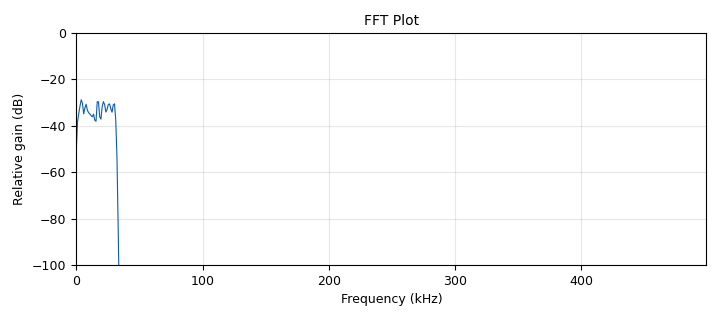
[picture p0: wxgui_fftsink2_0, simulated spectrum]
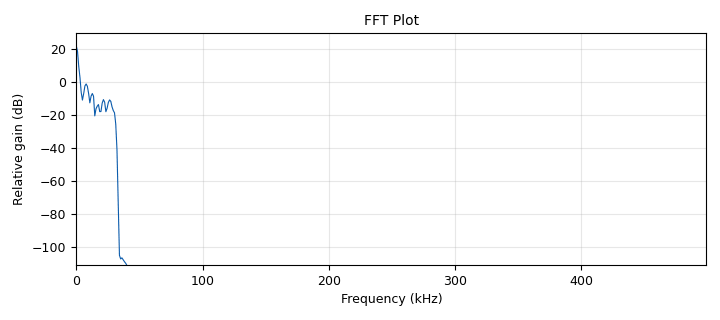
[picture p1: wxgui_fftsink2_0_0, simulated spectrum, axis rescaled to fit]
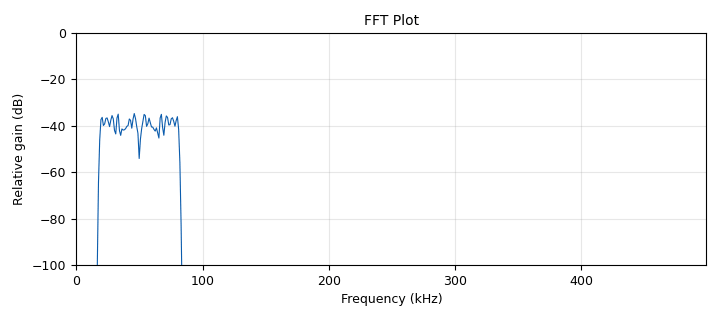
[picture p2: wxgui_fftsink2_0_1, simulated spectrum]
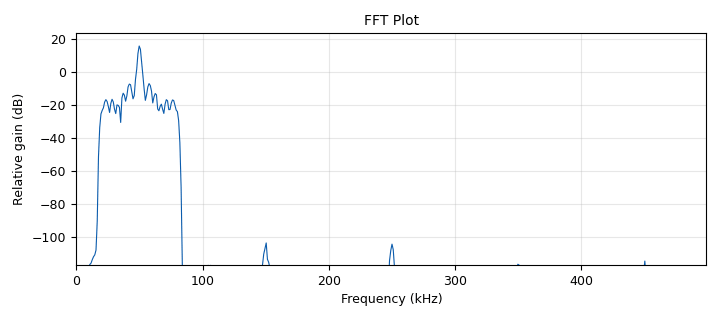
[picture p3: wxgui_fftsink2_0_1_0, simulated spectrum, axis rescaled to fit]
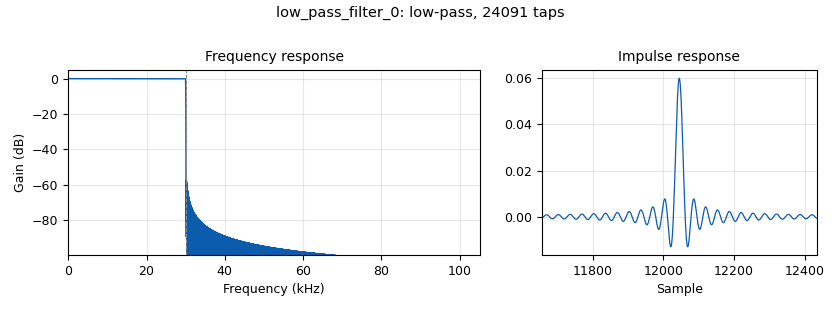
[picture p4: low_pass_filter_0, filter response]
<?xml version='1.0' encoding='utf-8'?>
<?grc format='1' created='3.7.9'?>
<flow_graph>
<block>
<key>options</key>
<param><key>id</key><value>top_block</value></param>
<param><key>category</key><value>Custom</value></param>
<param><key>generate_options</key><value>wx_gui</value></param>
</block>
<block>
<key>variable</key>
<param><key>id</key><value>carrier_f</value></param>
<param><key>value</key><value>50e3</value></param>
</block>
<block>
<key>variable</key>
<param><key>id</key><value>samp_rate</value></param>
<param><key>value</key><value>1e6</value></param>
</block>
<block>
<key>analog_noise_source_x</key>
<param><key>id</key><value>analog_noise_source_x_0</value></param>
<param><key>amp</key><value>1</value></param>
<param><key>noise_type</key><value>analog.GR_GAUSSIAN</value></param>
<param><key>type</key><value>float</value></param>
<param><key>seed</key><value>0</value></param>
</block>
<block>
<key>analog_sig_source_x</key>
<param><key>id</key><value>analog_sig_source_x_0</value></param>
<param><key>amp</key><value>1</value></param>
<param><key>freq</key><value>carrier_f</value></param>
<param><key>offset</key><value>0</value></param>
<param><key>type</key><value>float</value></param>
<param><key>samp_rate</key><value>samp_rate</value></param>
<param><key>waveform</key><value>analog.GR_COS_WAVE</value></param>
</block>
<block>
<key>analog_sig_source_x</key>
<param><key>id</key><value>analog_sig_source_x_1</value></param>
<param><key>amp</key><value>1</value></param>
<param><key>freq</key><value>300e3</value></param>
<param><key>offset</key><value>0</value></param>
<param><key>type</key><value>float</value></param>
<param><key>samp_rate</key><value>samp_rate</value></param>
<param><key>waveform</key><value>analog.GR_COS_WAVE</value></param>
</block>
<block>
<key>analog_sig_source_x</key>
<param><key>id</key><value>analog_sig_source_x_1_0</value></param>
<param><key>amp</key><value>1</value></param>
<param><key>freq</key><value>400e3</value></param>
<param><key>offset</key><value>0</value></param>
<param><key>type</key><value>float</value></param>
<param><key>samp_rate</key><value>samp_rate</value></param>
<param><key>waveform</key><value>analog.GR_COS_WAVE</value></param>
</block>
<block>
<key>blocks_add_xx</key>
<param><key>id</key><value>blocks_add_xx_0</value></param>
<param><key>type</key><value>float</value></param>
</block>
<block>
<key>blocks_file_source</key>
<param><key>id</key><value>blocks_file_source_0</value></param>
<param><key>file</key><value>/home/arktheshadow/ARK-Linux/Programming/CommunicationLab/EE340L-Communication-Lab/Midsem_prev_year/midB/Prob1_BatchB_square.wfm</value></param>
<param><key>type</key><value>float</value></param>
<param><key>repeat</key><value>True</value></param>
</block>
<block>
<key>blocks_file_source</key>
<param><key>id</key><value>blocks_file_source_0_0</value></param>
<param><key>file</key><value>/home/arktheshadow/ARK-Linux/Programming/CommunicationLab/EE340L-Communication-Lab/Midsem_prev_year/midB/Prob1_BatchB_triangle.wfm</value></param>
<param><key>type</key><value>float</value></param>
<param><key>repeat</key><value>True</value></param>
</block>
<block>
<key>blocks_multiply_xx</key>
<param><key>id</key><value>blocks_multiply_xx_0</value></param>
<param><key>_enabled</key><value>0</value></param>
<param><key>type</key><value>float</value></param>
</block>
<block>
<key>blocks_multiply_xx</key>
<param><key>id</key><value>blocks_multiply_xx_1</value></param>
<param><key>type</key><value>float</value></param>
</block>
<block>
<key>blocks_multiply_xx</key>
<param><key>id</key><value>blocks_multiply_xx_2</value></param>
<param><key>type</key><value>float</value></param>
</block>
<block>
<key>blocks_multiply_xx</key>
<param><key>id</key><value>blocks_multiply_xx_3</value></param>
<param><key>type</key><value>float</value></param>
</block>
<block>
<key>blocks_multiply_xx</key>
<param><key>id</key><value>blocks_multiply_xx_3_0</value></param>
<param><key>type</key><value>float</value></param>
</block>
<block>
<key>blocks_multiply_xx</key>
<param><key>id</key><value>blocks_multiply_xx_4</value></param>
<param><key>type</key><value>float</value></param>
</block>
<block>
<key>blocks_multiply_xx</key>
<param><key>id</key><value>blocks_multiply_xx_4_0</value></param>
<param><key>type</key><value>float</value></param>
</block>
<block>
<key>blocks_throttle</key>
<param><key>id</key><value>blocks_throttle_0</value></param>
<param><key>samples_per_second</key><value>samp_rate</value></param>
<param><key>type</key><value>float</value></param>
</block>
<block>
<key>dc_blocker_xx</key>
<param><key>id</key><value>dc_blocker_xx_0</value></param>
<param><key>length</key><value>1000</value></param>
<param><key>long_form</key><value>True</value></param>
<param><key>type</key><value>ff</value></param>
</block>
<block>
<key>iir_filter_xxx</key>
<param><key>id</key><value>iir_filter_xxx_0</value></param>
<param><key>fftaps</key><value>[1]</value></param>
<param><key>fbtaps</key><value>[1,1]</value></param>
<param><key>type</key><value>ffd</value></param>
</block>
<block>
<key>low_pass_filter</key>
<param><key>id</key><value>low_pass_filter_0</value></param>
<param><key>cutoff_freq</key><value>30e3</value></param>
<param><key>decim</key><value>1</value></param>
<param><key>type</key><value>fir_filter_fff</value></param>
<param><key>gain</key><value>1</value></param>
<param><key>samp_rate</key><value>samp_rate</value></param>
<param><key>width</key><value>100</value></param>
<param><key>win</key><value>firdes.WIN_HAMMING</value></param>
</block>
<block>
<key>low_pass_filter</key>
<param><key>id</key><value>low_pass_filter_0_0</value></param>
<param><key>cutoff_freq</key><value>30e3</value></param>
<param><key>decim</key><value>1</value></param>
<param><key>type</key><value>fir_filter_fff</value></param>
<param><key>gain</key><value>1</value></param>
<param><key>samp_rate</key><value>samp_rate</value></param>
<param><key>width</key><value>100</value></param>
<param><key>win</key><value>firdes.WIN_HAMMING</value></param>
</block>
<block>
<key>low_pass_filter</key>
<param><key>id</key><value>low_pass_filter_0_0_0</value></param>
<param><key>cutoff_freq</key><value>30e3</value></param>
<param><key>decim</key><value>1</value></param>
<param><key>type</key><value>fir_filter_fff</value></param>
<param><key>gain</key><value>1</value></param>
<param><key>samp_rate</key><value>samp_rate</value></param>
<param><key>width</key><value>100</value></param>
<param><key>win</key><value>firdes.WIN_HAMMING</value></param>
</block>
<block>
<key>low_pass_filter</key>
<param><key>id</key><value>low_pass_filter_0_0_0_0</value></param>
<param><key>cutoff_freq</key><value>30e3</value></param>
<param><key>decim</key><value>1</value></param>
<param><key>type</key><value>fir_filter_fff</value></param>
<param><key>gain</key><value>1</value></param>
<param><key>samp_rate</key><value>samp_rate</value></param>
<param><key>width</key><value>100</value></param>
<param><key>win</key><value>firdes.WIN_HAMMING</value></param>
</block>
<block>
<key>notebook</key>
<param><key>id</key><value>notebook_0</value></param>
<param><key>labels</key><value>['fft1','fft2','fft3','fft4','fft5','fft6']</value></param>
<param><key>style</key><value>wx.NB_TOP</value></param>
</block>
<block>
<key>wxgui_fftsink2</key>
<param><key>id</key><value>wxgui_fftsink2_0</value></param>
<param><key>avg_alpha</key><value>0</value></param>
<param><key>average</key><value>False</value></param>
<param><key>baseband_freq</key><value>0</value></param>
<param><key>fft_size</key><value>1024</value></param>
<param><key>freqvar</key><value>None</value></param>
<param><key>notebook</key><value>notebook_0,0</value></param>
<param><key>peak_hold</key><value>False</value></param>
<param><key>ref_level</key><value>0</value></param>
<param><key>ref_scale</key><value>2.0</value></param>
<param><key>fft_rate</key><value>15</value></param>
<param><key>samp_rate</key><value>samp_rate</value></param>
<param><key>title</key><value>FFT Plot</value></param>
<param><key>type</key><value>float</value></param>
<param><key>win</key><value>None</value></param>
<param><key>y_divs</key><value>10</value></param>
<param><key>y_per_div</key><value>10</value></param>
</block>
<block>
<key>wxgui_fftsink2</key>
<param><key>id</key><value>wxgui_fftsink2_0_0</value></param>
<param><key>avg_alpha</key><value>0</value></param>
<param><key>average</key><value>False</value></param>
<param><key>baseband_freq</key><value>0</value></param>
<param><key>fft_size</key><value>1024</value></param>
<param><key>freqvar</key><value>None</value></param>
<param><key>notebook</key><value>notebook_0,1</value></param>
<param><key>peak_hold</key><value>False</value></param>
<param><key>ref_level</key><value>0</value></param>
<param><key>ref_scale</key><value>2.0</value></param>
<param><key>fft_rate</key><value>15</value></param>
<param><key>samp_rate</key><value>samp_rate</value></param>
<param><key>title</key><value>FFT Plot</value></param>
<param><key>type</key><value>float</value></param>
<param><key>win</key><value>None</value></param>
<param><key>y_divs</key><value>10</value></param>
<param><key>y_per_div</key><value>10</value></param>
</block>
<block>
<key>wxgui_fftsink2</key>
<param><key>id</key><value>wxgui_fftsink2_0_1</value></param>
<param><key>avg_alpha</key><value>0</value></param>
<param><key>average</key><value>False</value></param>
<param><key>baseband_freq</key><value>0</value></param>
<param><key>fft_size</key><value>1024</value></param>
<param><key>freqvar</key><value>None</value></param>
<param><key>notebook</key><value>notebook_0,2</value></param>
<param><key>peak_hold</key><value>False</value></param>
<param><key>ref_level</key><value>0</value></param>
<param><key>ref_scale</key><value>2.0</value></param>
<param><key>fft_rate</key><value>15</value></param>
<param><key>samp_rate</key><value>samp_rate</value></param>
<param><key>title</key><value>FFT Plot</value></param>
<param><key>type</key><value>float</value></param>
<param><key>win</key><value>None</value></param>
<param><key>y_divs</key><value>10</value></param>
<param><key>y_per_div</key><value>10</value></param>
</block>
<block>
<key>wxgui_fftsink2</key>
<param><key>id</key><value>wxgui_fftsink2_0_1_0</value></param>
<param><key>avg_alpha</key><value>0</value></param>
<param><key>average</key><value>False</value></param>
<param><key>baseband_freq</key><value>0</value></param>
<param><key>fft_size</key><value>1024</value></param>
<param><key>freqvar</key><value>None</value></param>
<param><key>notebook</key><value>notebook_0,3</value></param>
<param><key>peak_hold</key><value>False</value></param>
<param><key>ref_level</key><value>0</value></param>
<param><key>ref_scale</key><value>2.0</value></param>
<param><key>fft_rate</key><value>15</value></param>
<param><key>samp_rate</key><value>samp_rate</value></param>
<param><key>title</key><value>FFT Plot</value></param>
<param><key>type</key><value>float</value></param>
<param><key>win</key><value>None</value></param>
<param><key>y_divs</key><value>10</value></param>
<param><key>y_per_div</key><value>10</value></param>
</block>
<block>
<key>wxgui_fftsink2</key>
<param><key>id</key><value>wxgui_fftsink2_0_1_0_0_0</value></param>
<param><key>avg_alpha</key><value>0</value></param>
<param><key>average</key><value>False</value></param>
<param><key>baseband_freq</key><value>0</value></param>
<param><key>fft_size</key><value>1024</value></param>
<param><key>freqvar</key><value>None</value></param>
<param><key>notebook</key><value>notebook_0,4</value></param>
<param><key>peak_hold</key><value>False</value></param>
<param><key>ref_level</key><value>0</value></param>
<param><key>ref_scale</key><value>2.0</value></param>
<param><key>fft_rate</key><value>15</value></param>
<param><key>samp_rate</key><value>samp_rate</value></param>
<param><key>title</key><value>FFT Plot</value></param>
<param><key>type</key><value>float</value></param>
<param><key>win</key><value>None</value></param>
<param><key>y_divs</key><value>10</value></param>
<param><key>y_per_div</key><value>10</value></param>
</block>
<connection><source_block_id>analog_noise_source_x_0</source_block_id><sink_block_id>low_pass_filter_0</sink_block_id><source_key>0</source_key><sink_key>0</sink_key></connection>
<connection><source_block_id>analog_sig_source_x_0</source_block_id><sink_block_id>blocks_multiply_xx_1</sink_block_id><source_key>0</source_key><sink_key>1</sink_key></connection>
<connection><source_block_id>analog_sig_source_x_0</source_block_id><sink_block_id>blocks_multiply_xx_2</sink_block_id><source_key>0</source_key><sink_key>1</sink_key></connection>
<connection><source_block_id>analog_sig_source_x_0</source_block_id><sink_block_id>blocks_multiply_xx_4</sink_block_id><source_key>0</source_key><sink_key>0</sink_key></connection>
<connection><source_block_id>analog_sig_source_x_0</source_block_id><sink_block_id>blocks_multiply_xx_4_0</sink_block_id><source_key>0</source_key><sink_key>0</sink_key></connection>
<connection><source_block_id>analog_sig_source_x_1</source_block_id><sink_block_id>blocks_multiply_xx_3</sink_block_id><source_key>0</source_key><sink_key>1</sink_key></connection>
<connection><source_block_id>analog_sig_source_x_1_0</source_block_id><sink_block_id>blocks_multiply_xx_3_0</sink_block_id><source_key>0</source_key><sink_key>1</sink_key></connection>
<connection><source_block_id>blocks_add_xx_0</source_block_id><sink_block_id>blocks_throttle_0</sink_block_id><source_key>0</source_key><sink_key>0</sink_key></connection>
<connection><source_block_id>blocks_file_source_0</source_block_id><sink_block_id>blocks_multiply_xx_4</sink_block_id><source_key>0</source_key><sink_key>1</sink_key></connection>
<connection><source_block_id>blocks_file_source_0_0</source_block_id><sink_block_id>blocks_multiply_xx_4_0</sink_block_id><source_key>0</source_key><sink_key>1</sink_key></connection>
<connection><source_block_id>blocks_multiply_xx_0</source_block_id><sink_block_id>low_pass_filter_0_0</sink_block_id><source_key>0</source_key><sink_key>0</sink_key></connection>
<connection><source_block_id>blocks_multiply_xx_1</source_block_id><sink_block_id>wxgui_fftsink2_0_1</sink_block_id><source_key>0</source_key><sink_key>0</sink_key></connection>
<connection><source_block_id>blocks_multiply_xx_2</source_block_id><sink_block_id>wxgui_fftsink2_0_1_0</sink_block_id><source_key>0</source_key><sink_key>0</sink_key></connection>
<connection><source_block_id>blocks_multiply_xx_3</source_block_id><sink_block_id>blocks_add_xx_0</sink_block_id><source_key>0</source_key><sink_key>0</sink_key></connection>
<connection><source_block_id>blocks_multiply_xx_3_0</source_block_id><sink_block_id>blocks_add_xx_0</sink_block_id><source_key>0</source_key><sink_key>1</sink_key></connection>
<connection><source_block_id>blocks_multiply_xx_4</source_block_id><sink_block_id>low_pass_filter_0_0_0</sink_block_id><source_key>0</source_key><sink_key>0</sink_key></connection>
<connection><source_block_id>blocks_multiply_xx_4_0</source_block_id><sink_block_id>low_pass_filter_0_0_0_0</sink_block_id><source_key>0</source_key><sink_key>0</sink_key></connection>
<connection><source_block_id>blocks_throttle_0</source_block_id><sink_block_id>wxgui_fftsink2_0_1_0_0_0</sink_block_id><source_key>0</source_key><sink_key>0</sink_key></connection>
<connection><source_block_id>dc_blocker_xx_0</source_block_id><sink_block_id>low_pass_filter_0_0</sink_block_id><source_key>0</source_key><sink_key>0</sink_key></connection>
<connection><source_block_id>iir_filter_xxx_0</source_block_id><sink_block_id>dc_blocker_xx_0</sink_block_id><source_key>0</source_key><sink_key>0</sink_key></connection>
<connection><source_block_id>low_pass_filter_0</source_block_id><sink_block_id>blocks_multiply_xx_0</sink_block_id><source_key>0</source_key><sink_key>0</sink_key></connection>
<connection><source_block_id>low_pass_filter_0</source_block_id><sink_block_id>blocks_multiply_xx_0</sink_block_id><source_key>0</source_key><sink_key>1</sink_key></connection>
<connection><source_block_id>low_pass_filter_0</source_block_id><sink_block_id>blocks_multiply_xx_1</sink_block_id><source_key>0</source_key><sink_key>0</sink_key></connection>
<connection><source_block_id>low_pass_filter_0</source_block_id><sink_block_id>iir_filter_xxx_0</sink_block_id><source_key>0</source_key><sink_key>0</sink_key></connection>
<connection><source_block_id>low_pass_filter_0</source_block_id><sink_block_id>wxgui_fftsink2_0</sink_block_id><source_key>0</source_key><sink_key>0</sink_key></connection>
<connection><source_block_id>low_pass_filter_0_0</source_block_id><sink_block_id>blocks_multiply_xx_2</sink_block_id><source_key>0</source_key><sink_key>0</sink_key></connection>
<connection><source_block_id>low_pass_filter_0_0</source_block_id><sink_block_id>wxgui_fftsink2_0_0</sink_block_id><source_key>0</source_key><sink_key>0</sink_key></connection>
<connection><source_block_id>low_pass_filter_0_0_0</source_block_id><sink_block_id>blocks_multiply_xx_3</sink_block_id><source_key>0</source_key><sink_key>0</sink_key></connection>
<connection><source_block_id>low_pass_filter_0_0_0_0</source_block_id><sink_block_id>blocks_multiply_xx_3_0</sink_block_id><source_key>0</source_key><sink_key>0</sink_key></connection>
</flow_graph>
